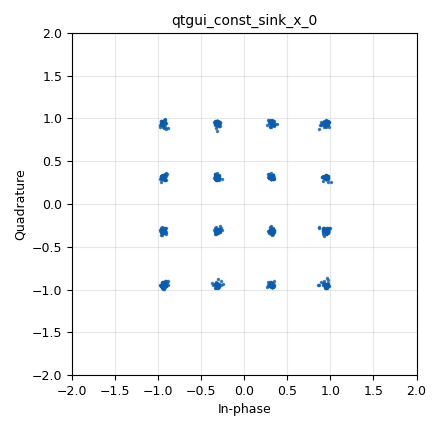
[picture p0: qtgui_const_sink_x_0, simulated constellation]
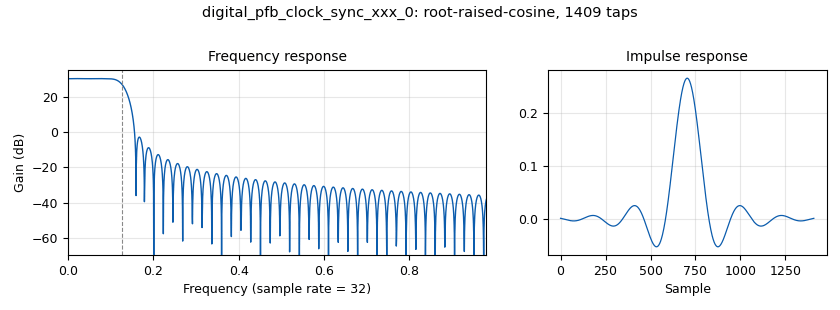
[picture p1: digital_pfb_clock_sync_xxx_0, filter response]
options:
  parameters:
    category: Custom
    generate_options: qt_gui
    id: qam16
    output_language: python
    title: qam16_mod
  states: {}

blocks:
- name: Alpha
  id: variable
  parameters:
    value: '0.22'
  states: {}
- name: const
  id: variable_constellation
  parameters:
    precision: '8'
    type: 16qam
  states: {}
- name: nfilts
  id: variable
  parameters:
    value: '32'
  states: {}
- name: noise_volt
  id: variable_qtgui_range
  parameters:
    comment: 0,0,1,1
    gui_hint: 0, 1, 1, 1
    label: 'Channel: Noise Voltage'
    start: '0'
    step: '0.01'
    stop: '1'
    value: '0.01'
    widget: eng_slider
  states: {}
- name: rrc_taps
  id: variable
  parameters:
    value: firdes.root_raised_cosine(nfilts, nfilts, 1.0/float(sps), Alpha, 11*sps*nfilts)
  states: {}
- name: samp_rate
  id: variable
  parameters:
    value: '10000'
  states: {}
- name: sps
  id: variable
  parameters:
    value: '4'
  states: {}
- name: timing_loop_bw
  id: variable
  parameters:
    value: '0.0628'
  states: {}
- name: analog_random_source_x_0
  id: analog_random_source_x
  parameters:
    max: '255'
    min: '0'
    num_samps: '10000'
    repeat: 'True'
    type: byte
  states: {}
- name: channels_channel_model_0
  id: channels_channel_model
  parameters:
    epsilon: '1'
    freq_offset: '0'
    noise_voltage: noise_volt
    seed: '0'
    taps: 1+0j
  states: {}
- name: digital_constellation_modulator_0
  id: digital_constellation_modulator
  parameters:
    constellation: const
    differential: 'True'
    excess_bw: Alpha
    samples_per_symbol: sps
  states: {}
- name: digital_pfb_clock_sync_xxx_0
  id: digital_pfb_clock_sync_xxx
  parameters:
    filter_size: nfilts
    init_phase: nfilts/2
    loop_bw: timing_loop_bw
    max_dev: '1.5'
    osps: '1'
    sps: sps
    taps: rrc_taps
    type: ccf
  states: {}
- name: iio_pluto_sink_0
  id: iio_pluto_sink
  parameters:
    attenuation1: '10.0'
    bandwidth: '20000000'
    buffer_size: '32768'
    cyclic: 'False'
    filter_source: '''Auto'''
    frequency: '2400000000'
    samplerate: samp_rate
    type: fc32
  states: {}
- name: qtgui_const_sink_x_0
  id: qtgui_const_sink_x
  parameters:
    comment: 1,0,1,1
    gui_hint: 0,0,1,1
    name: ''
    size: '1024'
    type: complex
  states: {}

connections:
- [analog_random_source_x_0, '0', digital_constellation_modulator_0, '0']
- [channels_channel_model_0, '0', digital_pfb_clock_sync_xxx_0, '0']
- [digital_constellation_modulator_0, '0', channels_channel_model_0, '0']
- [digital_pfb_clock_sync_xxx_0, '0', iio_pluto_sink_0, '0']
- [digital_pfb_clock_sync_xxx_0, '0', qtgui_const_sink_x_0, '0']

metadata:
  file_format: 1
  grc_version: 3.10.12.0
